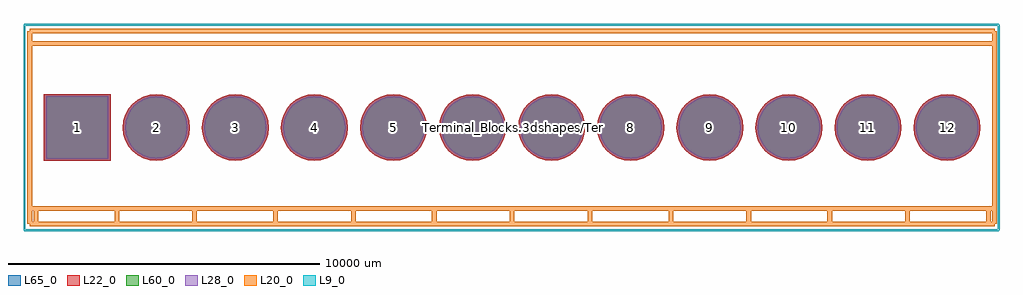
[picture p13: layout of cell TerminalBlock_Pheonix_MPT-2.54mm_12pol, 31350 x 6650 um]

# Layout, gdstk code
import gdstk
lib = gdstk.Library(unit=1e-6, precision=1e-09)
def R(c, l, rs):  # rectangles x0, y0, x1, y1
    for r in rs: c.add(gdstk.rectangle(r[:2], r[2:], *l))
def P(c, l, *ps):  # polygons
    for p in ps: c.add(gdstk.Polygon(p, *l))
L9_0 = (9, 0)
L20_0 = (20, 0)
L22_0 = (22, 0)
L28_0 = (28, 0)
L60_0 = (60, 0)
L65_0 = (65, 0)

terminalblock_pheonix_mp = lib.new_cell('TerminalBlock_Pheonix_MPT-2.54mm_12pol')
R(terminalblock_pheonix_mp, L22_0, [(-1074.49,-1074.49,1074.49,1074.49)])
P(terminalblock_pheonix_mp, L22_0, [(29014.49,0),(28993.844,209.623),(28932.699,411.19),(28833.406,596.955),(28699.779,759.779),(28536.955,893.406),(28351.19,992.699),(28149.623,1053.844),(27940,1074.49),(27730.377,1053.844),(27528.81,992.699),(27343.045,893.406),(27180.221,759.779),(27046.594,596.955),(26947.301,411.19),(26886.156,209.623),(26865.51,0),(26886.156,-209.623),(26947.301,-411.19),(27046.594,-596.955),(27180.221,-759.779),(27343.045,-893.406),(27528.81,-992.699),(27730.377,-1053.844),(27940,-1074.49),(28149.623,-1053.844),(28351.19,-992.699),(28536.955,-893.406),(28699.779,-759.779),(28833.406,-596.955),(28932.699,-411.19),(28993.844,-209.623)],
  [(26474.49,0),(26453.844,209.623),(26392.699,411.19),(26293.406,596.955),(26159.779,759.779),(25996.955,893.406),(25811.19,992.699),(25609.623,1053.844),(25400,1074.49),(25190.377,1053.844),(24988.81,992.699),(24803.045,893.406),(24640.221,759.779),(24506.594,596.955),(24407.301,411.19),(24346.156,209.623),(24325.51,0),(24346.156,-209.623),(24407.301,-411.19),(24506.594,-596.955),(24640.221,-759.779),(24803.045,-893.406),(24988.81,-992.699),(25190.377,-1053.844),(25400,-1074.49),(25609.623,-1053.844),(25811.19,-992.699),(25996.955,-893.406),(26159.779,-759.779),(26293.406,-596.955),(26392.699,-411.19),(26453.844,-209.623)],
  [(23934.49,0),(23913.844,209.623),(23852.699,411.19),(23753.406,596.955),(23619.779,759.779),(23456.955,893.406),(23271.19,992.699),(23069.623,1053.844),(22860,1074.49),(22650.377,1053.844),(22448.81,992.699),(22263.045,893.406),(22100.221,759.779),(21966.594,596.955),(21867.301,411.19),(21806.156,209.623),(21785.51,0),(21806.156,-209.623),(21867.301,-411.19),(21966.594,-596.955),(22100.221,-759.779),(22263.045,-893.406),(22448.81,-992.699),(22650.377,-1053.844),(22860,-1074.49),(23069.623,-1053.844),(23271.19,-992.699),(23456.955,-893.406),(23619.779,-759.779),(23753.406,-596.955),(23852.699,-411.19),(23913.844,-209.623)],
  [(21394.49,0),(21373.844,209.623),(21312.699,411.19),(21213.406,596.955),(21079.779,759.779),(20916.955,893.406),(20731.19,992.699),(20529.623,1053.844),(20320,1074.49),(20110.377,1053.844),(19908.81,992.699),(19723.045,893.406),(19560.221,759.779),(19426.594,596.955),(19327.301,411.19),(19266.156,209.623),(19245.51,0),(19266.156,-209.623),(19327.301,-411.19),(19426.594,-596.955),(19560.221,-759.779),(19723.045,-893.406),(19908.81,-992.699),(20110.377,-1053.844),(20320,-1074.49),(20529.623,-1053.844),(20731.19,-992.699),(20916.955,-893.406),(21079.779,-759.779),(21213.406,-596.955),(21312.699,-411.19),(21373.844,-209.623)],
  [(18854.49,0),(18833.844,209.623),(18772.699,411.19),(18673.406,596.955),(18539.779,759.779),(18376.955,893.406),(18191.19,992.699),(17989.623,1053.844),(17780,1074.49),(17570.377,1053.844),(17368.81,992.699),(17183.045,893.406),(17020.221,759.779),(16886.594,596.955),(16787.301,411.19),(16726.156,209.623),(16705.51,0),(16726.156,-209.623),(16787.301,-411.19),(16886.594,-596.955),(17020.221,-759.779),(17183.045,-893.406),(17368.81,-992.699),(17570.377,-1053.844),(17780,-1074.49),(17989.623,-1053.844),(18191.19,-992.699),(18376.955,-893.406),(18539.779,-759.779),(18673.406,-596.955),(18772.699,-411.19),(18833.844,-209.623)],
  [(16314.49,0),(16293.844,209.623),(16232.699,411.19),(16133.406,596.955),(15999.779,759.779),(15836.955,893.406),(15651.19,992.699),(15449.623,1053.844),(15240,1074.49),(15030.377,1053.844),(14828.81,992.699),(14643.045,893.406),(14480.221,759.779),(14346.594,596.955),(14247.301,411.19),(14186.156,209.623),(14165.51,0),(14186.156,-209.623),(14247.301,-411.19),(14346.594,-596.955),(14480.221,-759.779),(14643.045,-893.406),(14828.81,-992.699),(15030.377,-1053.844),(15240,-1074.49),(15449.623,-1053.844),(15651.19,-992.699),(15836.955,-893.406),(15999.779,-759.779),(16133.406,-596.955),(16232.699,-411.19),(16293.844,-209.623)],
  [(13774.49,0),(13753.844,209.623),(13692.699,411.19),(13593.406,596.955),(13459.779,759.779),(13296.955,893.406),(13111.19,992.699),(12909.623,1053.844),(12700,1074.49),(12490.377,1053.844),(12288.81,992.699),(12103.045,893.406),(11940.221,759.779),(11806.594,596.955),(11707.301,411.19),(11646.156,209.623),(11625.51,0),(11646.156,-209.623),(11707.301,-411.19),(11806.594,-596.955),(11940.221,-759.779),(12103.045,-893.406),(12288.81,-992.699),(12490.377,-1053.844),(12700,-1074.49),(12909.623,-1053.844),(13111.19,-992.699),(13296.955,-893.406),(13459.779,-759.779),(13593.406,-596.955),(13692.699,-411.19),(13753.844,-209.623)],
  [(11234.49,0),(11213.844,209.623),(11152.699,411.19),(11053.406,596.955),(10919.779,759.779),(10756.955,893.406),(10571.19,992.699),(10369.623,1053.844),(10160,1074.49),(9950.377,1053.844),(9748.81,992.699),(9563.045,893.406),(9400.221,759.779),(9266.594,596.955),(9167.301,411.19),(9106.156,209.623),(9085.51,0),(9106.156,-209.623),(9167.301,-411.19),(9266.594,-596.955),(9400.221,-759.779),(9563.045,-893.406),(9748.81,-992.699),(9950.377,-1053.844),(10160,-1074.49),(10369.623,-1053.844),(10571.19,-992.699),(10756.955,-893.406),(10919.779,-759.779),(11053.406,-596.955),(11152.699,-411.19),(11213.844,-209.623)],
  [(6154.49,0),(6133.844,209.623),(6072.699,411.19),(5973.406,596.955),(5839.779,759.779),(5676.955,893.406),(5491.19,992.699),(5289.623,1053.844),(5080,1074.49),(4870.377,1053.844),(4668.81,992.699),(4483.045,893.406),(4320.221,759.779),(4186.594,596.955),(4087.301,411.19),(4026.156,209.623),(4005.51,0),(4026.156,-209.623),(4087.301,-411.19),(4186.594,-596.955),(4320.221,-759.779),(4483.045,-893.406),(4668.81,-992.699),(4870.377,-1053.844),(5080,-1074.49),(5289.623,-1053.844),(5491.19,-992.699),(5676.955,-893.406),(5839.779,-759.779),(5973.406,-596.955),(6072.699,-411.19),(6133.844,-209.623)],
  [(3614.49,0),(3593.844,209.623),(3532.699,411.19),(3433.406,596.955),(3299.779,759.779),(3136.955,893.406),(2951.19,992.699),(2749.623,1053.844),(2540,1074.49),(2330.377,1053.844),(2128.81,992.699),(1943.045,893.406),(1780.221,759.779),(1646.594,596.955),(1547.301,411.19),(1486.156,209.623),(1465.51,0),(1486.156,-209.623),(1547.301,-411.19),(1646.594,-596.955),(1780.221,-759.779),(1943.045,-893.406),(2128.81,-992.699),(2330.377,-1053.844),(2540,-1074.49),(2749.623,-1053.844),(2951.19,-992.699),(3136.955,-893.406),(3299.779,-759.779),(3433.406,-596.955),(3532.699,-411.19),(3593.844,-209.623)],
  [(8694.49,0),(8673.844,209.623),(8612.699,411.19),(8513.406,596.955),(8379.779,759.779),(8216.955,893.406),(8031.19,992.699),(7829.623,1053.844),(7620,1074.49),(7410.377,1053.844),(7208.81,992.699),(7023.045,893.406),(6860.221,759.779),(6726.594,596.955),(6627.301,411.19),(6566.156,209.623),(6545.51,0),(6566.156,-209.623),(6627.301,-411.19),(6726.594,-596.955),(6860.221,-759.779),(7023.045,-893.406),(7208.81,-992.699),(7410.377,-1053.844),(7620,-1074.49),(7829.623,-1053.844),(8031.19,-992.699),(8216.955,-893.406),(8379.779,-759.779),(8513.406,-596.955),(8612.699,-411.19),(8673.844,-209.623)])
R(terminalblock_pheonix_mp, L28_0, [(-999.49,-999.49,999.49,999.49)])
P(terminalblock_pheonix_mp, L28_0, [(28939.49,0),(28920.285,194.991),(28863.408,382.488),(28771.046,555.287),(28646.746,706.746),(28495.287,831.046),(28322.488,923.408),(28134.991,980.285),(27940,999.49),(27745.009,980.285),(27557.512,923.408),(27384.713,831.046),(27233.254,706.746),(27108.954,555.287),(27016.592,382.488),(26959.715,194.991),(26940.51,0),(26959.715,-194.991),(27016.592,-382.488),(27108.954,-555.287),(27233.254,-706.746),(27384.713,-831.046),(27557.512,-923.408),(27745.009,-980.285),(27940,-999.49),(28134.991,-980.285),(28322.488,-923.408),(28495.287,-831.046),(28646.746,-706.746),(28771.046,-555.287),(28863.408,-382.488),(28920.285,-194.991)],
  [(26399.49,0),(26380.285,194.991),(26323.408,382.488),(26231.046,555.287),(26106.746,706.746),(25955.287,831.046),(25782.488,923.408),(25594.991,980.285),(25400,999.49),(25205.009,980.285),(25017.512,923.408),(24844.713,831.046),(24693.254,706.746),(24568.954,555.287),(24476.592,382.488),(24419.715,194.991),(24400.51,0),(24419.715,-194.991),(24476.592,-382.488),(24568.954,-555.287),(24693.254,-706.746),(24844.713,-831.046),(25017.512,-923.408),(25205.009,-980.285),(25400,-999.49),(25594.991,-980.285),(25782.488,-923.408),(25955.287,-831.046),(26106.746,-706.746),(26231.046,-555.287),(26323.408,-382.488),(26380.285,-194.991)],
  [(23859.49,0),(23840.285,194.991),(23783.408,382.488),(23691.046,555.287),(23566.746,706.746),(23415.287,831.046),(23242.488,923.408),(23054.991,980.285),(22860,999.49),(22665.009,980.285),(22477.512,923.408),(22304.713,831.046),(22153.254,706.746),(22028.954,555.287),(21936.592,382.488),(21879.715,194.991),(21860.51,0),(21879.715,-194.991),(21936.592,-382.488),(22028.954,-555.287),(22153.254,-706.746),(22304.713,-831.046),(22477.512,-923.408),(22665.009,-980.285),(22860,-999.49),(23054.991,-980.285),(23242.488,-923.408),(23415.287,-831.046),(23566.746,-706.746),(23691.046,-555.287),(23783.408,-382.488),(23840.285,-194.991)],
  [(21319.49,0),(21300.285,194.991),(21243.408,382.488),(21151.046,555.287),(21026.746,706.746),(20875.287,831.046),(20702.488,923.408),(20514.991,980.285),(20320,999.49),(20125.009,980.285),(19937.512,923.408),(19764.713,831.046),(19613.254,706.746),(19488.954,555.287),(19396.592,382.488),(19339.715,194.991),(19320.51,0),(19339.715,-194.991),(19396.592,-382.488),(19488.954,-555.287),(19613.254,-706.746),(19764.713,-831.046),(19937.512,-923.408),(20125.009,-980.285),(20320,-999.49),(20514.991,-980.285),(20702.488,-923.408),(20875.287,-831.046),(21026.746,-706.746),(21151.046,-555.287),(21243.408,-382.488),(21300.285,-194.991)],
  [(18779.49,0),(18760.285,194.991),(18703.408,382.488),(18611.046,555.287),(18486.746,706.746),(18335.287,831.046),(18162.488,923.408),(17974.991,980.285),(17780,999.49),(17585.009,980.285),(17397.512,923.408),(17224.713,831.046),(17073.254,706.746),(16948.954,555.287),(16856.592,382.488),(16799.715,194.991),(16780.51,0),(16799.715,-194.991),(16856.592,-382.488),(16948.954,-555.287),(17073.254,-706.746),(17224.713,-831.046),(17397.512,-923.408),(17585.009,-980.285),(17780,-999.49),(17974.991,-980.285),(18162.488,-923.408),(18335.287,-831.046),(18486.746,-706.746),(18611.046,-555.287),(18703.408,-382.488),(18760.285,-194.991)],
  [(16239.49,0),(16220.285,194.991),(16163.408,382.488),(16071.046,555.287),(15946.746,706.746),(15795.287,831.046),(15622.488,923.408),(15434.991,980.285),(15240,999.49),(15045.009,980.285),(14857.512,923.408),(14684.713,831.046),(14533.254,706.746),(14408.954,555.287),(14316.592,382.488),(14259.715,194.991),(14240.51,0),(14259.715,-194.991),(14316.592,-382.488),(14408.954,-555.287),(14533.254,-706.746),(14684.713,-831.046),(14857.512,-923.408),(15045.009,-980.285),(15240,-999.49),(15434.991,-980.285),(15622.488,-923.408),(15795.287,-831.046),(15946.746,-706.746),(16071.046,-555.287),(16163.408,-382.488),(16220.285,-194.991)],
  [(13699.49,0),(13680.285,194.991),(13623.408,382.488),(13531.046,555.287),(13406.746,706.746),(13255.287,831.046),(13082.488,923.408),(12894.991,980.285),(12700,999.49),(12505.009,980.285),(12317.512,923.408),(12144.713,831.046),(11993.254,706.746),(11868.954,555.287),(11776.592,382.488),(11719.715,194.991),(11700.51,0),(11719.715,-194.991),(11776.592,-382.488),(11868.954,-555.287),(11993.254,-706.746),(12144.713,-831.046),(12317.512,-923.408),(12505.009,-980.285),(12700,-999.49),(12894.991,-980.285),(13082.488,-923.408),(13255.287,-831.046),(13406.746,-706.746),(13531.046,-555.287),(13623.408,-382.488),(13680.285,-194.991)],
  [(11159.49,0),(11140.285,194.991),(11083.408,382.488),(10991.046,555.287),(10866.746,706.746),(10715.287,831.046),(10542.488,923.408),(10354.991,980.285),(10160,999.49),(9965.009,980.285),(9777.512,923.408),(9604.713,831.046),(9453.254,706.746),(9328.954,555.287),(9236.592,382.488),(9179.715,194.991),(9160.51,0),(9179.715,-194.991),(9236.592,-382.488),(9328.954,-555.287),(9453.254,-706.746),(9604.713,-831.046),(9777.512,-923.408),(9965.009,-980.285),(10160,-999.49),(10354.991,-980.285),(10542.488,-923.408),(10715.287,-831.046),(10866.746,-706.746),(10991.046,-555.287),(11083.408,-382.488),(11140.285,-194.991)],
  [(6079.49,0),(6060.285,194.991),(6003.408,382.488),(5911.046,555.287),(5786.746,706.746),(5635.287,831.046),(5462.488,923.408),(5274.991,980.285),(5080,999.49),(4885.009,980.285),(4697.512,923.408),(4524.713,831.046),(4373.254,706.746),(4248.954,555.287),(4156.592,382.488),(4099.715,194.991),(4080.51,0),(4099.715,-194.991),(4156.592,-382.488),(4248.954,-555.287),(4373.254,-706.746),(4524.713,-831.046),(4697.512,-923.408),(4885.009,-980.285),(5080,-999.49),(5274.991,-980.285),(5462.488,-923.408),(5635.287,-831.046),(5786.746,-706.746),(5911.046,-555.287),(6003.408,-382.488),(6060.285,-194.991)],
  [(3539.49,0),(3520.285,194.991),(3463.408,382.488),(3371.046,555.287),(3246.746,706.746),(3095.287,831.046),(2922.488,923.408),(2734.991,980.285),(2540,999.49),(2345.009,980.285),(2157.512,923.408),(1984.713,831.046),(1833.254,706.746),(1708.954,555.287),(1616.592,382.488),(1559.715,194.991),(1540.51,0),(1559.715,-194.991),(1616.592,-382.488),(1708.954,-555.287),(1833.254,-706.746),(1984.713,-831.046),(2157.512,-923.408),(2345.009,-980.285),(2540,-999.49),(2734.991,-980.285),(2922.488,-923.408),(3095.287,-831.046),(3246.746,-706.746),(3371.046,-555.287),(3463.408,-382.488),(3520.285,-194.991)],
  [(8619.49,0),(8600.285,194.991),(8543.408,382.488),(8451.046,555.287),(8326.746,706.746),(8175.287,831.046),(8002.488,923.408),(7814.991,980.285),(7620,999.49),(7425.009,980.285),(7237.512,923.408),(7064.713,831.046),(6913.254,706.746),(6788.954,555.287),(6696.592,382.488),(6639.715,194.991),(6620.51,0),(6639.715,-194.991),(6696.592,-382.488),(6788.954,-555.287),(6913.254,-706.746),(7064.713,-831.046),(7237.512,-923.408),(7425.009,-980.285),(7620,-999.49),(7814.991,-980.285),(8002.488,-923.408),(8175.287,-831.046),(8326.746,-706.746),(8451.046,-555.287),(8543.408,-382.488),(8600.285,-194.991)])
R(terminalblock_pheonix_mp, L60_0, [(-999.49,-999.49,999.49,999.49)])
P(terminalblock_pheonix_mp, L60_0, [(28939.49,0),(28920.285,194.991),(28863.408,382.488),(28771.046,555.287),(28646.746,706.746),(28495.287,831.046),(28322.488,923.408),(28134.991,980.285),(27940,999.49),(27745.009,980.285),(27557.512,923.408),(27384.713,831.046),(27233.254,706.746),(27108.954,555.287),(27016.592,382.488),(26959.715,194.991),(26940.51,0),(26959.715,-194.991),(27016.592,-382.488),(27108.954,-555.287),(27233.254,-706.746),(27384.713,-831.046),(27557.512,-923.408),(27745.009,-980.285),(27940,-999.49),(28134.991,-980.285),(28322.488,-923.408),(28495.287,-831.046),(28646.746,-706.746),(28771.046,-555.287),(28863.408,-382.488),(28920.285,-194.991)],
  [(26399.49,0),(26380.285,194.991),(26323.408,382.488),(26231.046,555.287),(26106.746,706.746),(25955.287,831.046),(25782.488,923.408),(25594.991,980.285),(25400,999.49),(25205.009,980.285),(25017.512,923.408),(24844.713,831.046),(24693.254,706.746),(24568.954,555.287),(24476.592,382.488),(24419.715,194.991),(24400.51,0),(24419.715,-194.991),(24476.592,-382.488),(24568.954,-555.287),(24693.254,-706.746),(24844.713,-831.046),(25017.512,-923.408),(25205.009,-980.285),(25400,-999.49),(25594.991,-980.285),(25782.488,-923.408),(25955.287,-831.046),(26106.746,-706.746),(26231.046,-555.287),(26323.408,-382.488),(26380.285,-194.991)],
  [(23859.49,0),(23840.285,194.991),(23783.408,382.488),(23691.046,555.287),(23566.746,706.746),(23415.287,831.046),(23242.488,923.408),(23054.991,980.285),(22860,999.49),(22665.009,980.285),(22477.512,923.408),(22304.713,831.046),(22153.254,706.746),(22028.954,555.287),(21936.592,382.488),(21879.715,194.991),(21860.51,0),(21879.715,-194.991),(21936.592,-382.488),(22028.954,-555.287),(22153.254,-706.746),(22304.713,-831.046),(22477.512,-923.408),(22665.009,-980.285),(22860,-999.49),(23054.991,-980.285),(23242.488,-923.408),(23415.287,-831.046),(23566.746,-706.746),(23691.046,-555.287),(23783.408,-382.488),(23840.285,-194.991)],
  [(21319.49,0),(21300.285,194.991),(21243.408,382.488),(21151.046,555.287),(21026.746,706.746),(20875.287,831.046),(20702.488,923.408),(20514.991,980.285),(20320,999.49),(20125.009,980.285),(19937.512,923.408),(19764.713,831.046),(19613.254,706.746),(19488.954,555.287),(19396.592,382.488),(19339.715,194.991),(19320.51,0),(19339.715,-194.991),(19396.592,-382.488),(19488.954,-555.287),(19613.254,-706.746),(19764.713,-831.046),(19937.512,-923.408),(20125.009,-980.285),(20320,-999.49),(20514.991,-980.285),(20702.488,-923.408),(20875.287,-831.046),(21026.746,-706.746),(21151.046,-555.287),(21243.408,-382.488),(21300.285,-194.991)],
  [(18779.49,0),(18760.285,194.991),(18703.408,382.488),(18611.046,555.287),(18486.746,706.746),(18335.287,831.046),(18162.488,923.408),(17974.991,980.285),(17780,999.49),(17585.009,980.285),(17397.512,923.408),(17224.713,831.046),(17073.254,706.746),(16948.954,555.287),(16856.592,382.488),(16799.715,194.991),(16780.51,0),(16799.715,-194.991),(16856.592,-382.488),(16948.954,-555.287),(17073.254,-706.746),(17224.713,-831.046),(17397.512,-923.408),(17585.009,-980.285),(17780,-999.49),(17974.991,-980.285),(18162.488,-923.408),(18335.287,-831.046),(18486.746,-706.746),(18611.046,-555.287),(18703.408,-382.488),(18760.285,-194.991)],
  [(16239.49,0),(16220.285,194.991),(16163.408,382.488),(16071.046,555.287),(15946.746,706.746),(15795.287,831.046),(15622.488,923.408),(15434.991,980.285),(15240,999.49),(15045.009,980.285),(14857.512,923.408),(14684.713,831.046),(14533.254,706.746),(14408.954,555.287),(14316.592,382.488),(14259.715,194.991),(14240.51,0),(14259.715,-194.991),(14316.592,-382.488),(14408.954,-555.287),(14533.254,-706.746),(14684.713,-831.046),(14857.512,-923.408),(15045.009,-980.285),(15240,-999.49),(15434.991,-980.285),(15622.488,-923.408),(15795.287,-831.046),(15946.746,-706.746),(16071.046,-555.287),(16163.408,-382.488),(16220.285,-194.991)],
  [(13699.49,0),(13680.285,194.991),(13623.408,382.488),(13531.046,555.287),(13406.746,706.746),(13255.287,831.046),(13082.488,923.408),(12894.991,980.285),(12700,999.49),(12505.009,980.285),(12317.512,923.408),(12144.713,831.046),(11993.254,706.746),(11868.954,555.287),(11776.592,382.488),(11719.715,194.991),(11700.51,0),(11719.715,-194.991),(11776.592,-382.488),(11868.954,-555.287),(11993.254,-706.746),(12144.713,-831.046),(12317.512,-923.408),(12505.009,-980.285),(12700,-999.49),(12894.991,-980.285),(13082.488,-923.408),(13255.287,-831.046),(13406.746,-706.746),(13531.046,-555.287),(13623.408,-382.488),(13680.285,-194.991)],
  [(11159.49,0),(11140.285,194.991),(11083.408,382.488),(10991.046,555.287),(10866.746,706.746),(10715.287,831.046),(10542.488,923.408),(10354.991,980.285),(10160,999.49),(9965.009,980.285),(9777.512,923.408),(9604.713,831.046),(9453.254,706.746),(9328.954,555.287),(9236.592,382.488),(9179.715,194.991),(9160.51,0),(9179.715,-194.991),(9236.592,-382.488),(9328.954,-555.287),(9453.254,-706.746),(9604.713,-831.046),(9777.512,-923.408),(9965.009,-980.285),(10160,-999.49),(10354.991,-980.285),(10542.488,-923.408),(10715.287,-831.046),(10866.746,-706.746),(10991.046,-555.287),(11083.408,-382.488),(11140.285,-194.991)],
  [(6079.49,0),(6060.285,194.991),(6003.408,382.488),(5911.046,555.287),(5786.746,706.746),(5635.287,831.046),(5462.488,923.408),(5274.991,980.285),(5080,999.49),(4885.009,980.285),(4697.512,923.408),(4524.713,831.046),(4373.254,706.746),(4248.954,555.287),(4156.592,382.488),(4099.715,194.991),(4080.51,0),(4099.715,-194.991),(4156.592,-382.488),(4248.954,-555.287),(4373.254,-706.746),(4524.713,-831.046),(4697.512,-923.408),(4885.009,-980.285),(5080,-999.49),(5274.991,-980.285),(5462.488,-923.408),(5635.287,-831.046),(5786.746,-706.746),(5911.046,-555.287),(6003.408,-382.488),(6060.285,-194.991)],
  [(3539.49,0),(3520.285,194.991),(3463.408,382.488),(3371.046,555.287),(3246.746,706.746),(3095.287,831.046),(2922.488,923.408),(2734.991,980.285),(2540,999.49),(2345.009,980.285),(2157.512,923.408),(1984.713,831.046),(1833.254,706.746),(1708.954,555.287),(1616.592,382.488),(1559.715,194.991),(1540.51,0),(1559.715,-194.991),(1616.592,-382.488),(1708.954,-555.287),(1833.254,-706.746),(1984.713,-831.046),(2157.512,-923.408),(2345.009,-980.285),(2540,-999.49),(2734.991,-980.285),(2922.488,-923.408),(3095.287,-831.046),(3246.746,-706.746),(3371.046,-555.287),(3463.408,-382.488),(3520.285,-194.991)],
  [(8619.49,0),(8600.285,194.991),(8543.408,382.488),(8451.046,555.287),(8326.746,706.746),(8175.287,831.046),(8002.488,923.408),(7814.991,980.285),(7620,999.49),(7425.009,980.285),(7237.512,923.408),(7064.713,831.046),(6913.254,706.746),(6788.954,555.287),(6696.592,382.488),(6639.715,194.991),(6620.51,0),(6639.715,-194.991),(6696.592,-382.488),(6788.954,-555.287),(6913.254,-706.746),(7064.713,-831.046),(7237.512,-923.408),(7425.009,-980.285),(7620,-999.49),(7814.991,-980.285),(8002.488,-923.408),(8175.287,-831.046),(8326.746,-706.746),(8451.046,-555.287),(8543.408,-382.488),(8600.285,-194.991)])
R(terminalblock_pheonix_mp, L65_0, [(-1074.49,-1074.49,1074.49,1074.49)])
P(terminalblock_pheonix_mp, L65_0, [(29014.49,0),(28993.844,209.623),(28932.699,411.19),(28833.406,596.955),(28699.779,759.779),(28536.955,893.406),(28351.19,992.699),(28149.623,1053.844),(27940,1074.49),(27730.377,1053.844),(27528.81,992.699),(27343.045,893.406),(27180.221,759.779),(27046.594,596.955),(26947.301,411.19),(26886.156,209.623),(26865.51,0),(26886.156,-209.623),(26947.301,-411.19),(27046.594,-596.955),(27180.221,-759.779),(27343.045,-893.406),(27528.81,-992.699),(27730.377,-1053.844),(27940,-1074.49),(28149.623,-1053.844),(28351.19,-992.699),(28536.955,-893.406),(28699.779,-759.779),(28833.406,-596.955),(28932.699,-411.19),(28993.844,-209.623)],
  [(26474.49,0),(26453.844,209.623),(26392.699,411.19),(26293.406,596.955),(26159.779,759.779),(25996.955,893.406),(25811.19,992.699),(25609.623,1053.844),(25400,1074.49),(25190.377,1053.844),(24988.81,992.699),(24803.045,893.406),(24640.221,759.779),(24506.594,596.955),(24407.301,411.19),(24346.156,209.623),(24325.51,0),(24346.156,-209.623),(24407.301,-411.19),(24506.594,-596.955),(24640.221,-759.779),(24803.045,-893.406),(24988.81,-992.699),(25190.377,-1053.844),(25400,-1074.49),(25609.623,-1053.844),(25811.19,-992.699),(25996.955,-893.406),(26159.779,-759.779),(26293.406,-596.955),(26392.699,-411.19),(26453.844,-209.623)],
  [(23934.49,0),(23913.844,209.623),(23852.699,411.19),(23753.406,596.955),(23619.779,759.779),(23456.955,893.406),(23271.19,992.699),(23069.623,1053.844),(22860,1074.49),(22650.377,1053.844),(22448.81,992.699),(22263.045,893.406),(22100.221,759.779),(21966.594,596.955),(21867.301,411.19),(21806.156,209.623),(21785.51,0),(21806.156,-209.623),(21867.301,-411.19),(21966.594,-596.955),(22100.221,-759.779),(22263.045,-893.406),(22448.81,-992.699),(22650.377,-1053.844),(22860,-1074.49),(23069.623,-1053.844),(23271.19,-992.699),(23456.955,-893.406),(23619.779,-759.779),(23753.406,-596.955),(23852.699,-411.19),(23913.844,-209.623)],
  [(21394.49,0),(21373.844,209.623),(21312.699,411.19),(21213.406,596.955),(21079.779,759.779),(20916.955,893.406),(20731.19,992.699),(20529.623,1053.844),(20320,1074.49),(20110.377,1053.844),(19908.81,992.699),(19723.045,893.406),(19560.221,759.779),(19426.594,596.955),(19327.301,411.19),(19266.156,209.623),(19245.51,0),(19266.156,-209.623),(19327.301,-411.19),(19426.594,-596.955),(19560.221,-759.779),(19723.045,-893.406),(19908.81,-992.699),(20110.377,-1053.844),(20320,-1074.49),(20529.623,-1053.844),(20731.19,-992.699),(20916.955,-893.406),(21079.779,-759.779),(21213.406,-596.955),(21312.699,-411.19),(21373.844,-209.623)],
  [(18854.49,0),(18833.844,209.623),(18772.699,411.19),(18673.406,596.955),(18539.779,759.779),(18376.955,893.406),(18191.19,992.699),(17989.623,1053.844),(17780,1074.49),(17570.377,1053.844),(17368.81,992.699),(17183.045,893.406),(17020.221,759.779),(16886.594,596.955),(16787.301,411.19),(16726.156,209.623),(16705.51,0),(16726.156,-209.623),(16787.301,-411.19),(16886.594,-596.955),(17020.221,-759.779),(17183.045,-893.406),(17368.81,-992.699),(17570.377,-1053.844),(17780,-1074.49),(17989.623,-1053.844),(18191.19,-992.699),(18376.955,-893.406),(18539.779,-759.779),(18673.406,-596.955),(18772.699,-411.19),(18833.844,-209.623)],
  [(16314.49,0),(16293.844,209.623),(16232.699,411.19),(16133.406,596.955),(15999.779,759.779),(15836.955,893.406),(15651.19,992.699),(15449.623,1053.844),(15240,1074.49),(15030.377,1053.844),(14828.81,992.699),(14643.045,893.406),(14480.221,759.779),(14346.594,596.955),(14247.301,411.19),(14186.156,209.623),(14165.51,0),(14186.156,-209.623),(14247.301,-411.19),(14346.594,-596.955),(14480.221,-759.779),(14643.045,-893.406),(14828.81,-992.699),(15030.377,-1053.844),(15240,-1074.49),(15449.623,-1053.844),(15651.19,-992.699),(15836.955,-893.406),(15999.779,-759.779),(16133.406,-596.955),(16232.699,-411.19),(16293.844,-209.623)],
  [(13774.49,0),(13753.844,209.623),(13692.699,411.19),(13593.406,596.955),(13459.779,759.779),(13296.955,893.406),(13111.19,992.699),(12909.623,1053.844),(12700,1074.49),(12490.377,1053.844),(12288.81,992.699),(12103.045,893.406),(11940.221,759.779),(11806.594,596.955),(11707.301,411.19),(11646.156,209.623),(11625.51,0),(11646.156,-209.623),(11707.301,-411.19),(11806.594,-596.955),(11940.221,-759.779),(12103.045,-893.406),(12288.81,-992.699),(12490.377,-1053.844),(12700,-1074.49),(12909.623,-1053.844),(13111.19,-992.699),(13296.955,-893.406),(13459.779,-759.779),(13593.406,-596.955),(13692.699,-411.19),(13753.844,-209.623)],
  [(11234.49,0),(11213.844,209.623),(11152.699,411.19),(11053.406,596.955),(10919.779,759.779),(10756.955,893.406),(10571.19,992.699),(10369.623,1053.844),(10160,1074.49),(9950.377,1053.844),(9748.81,992.699),(9563.045,893.406),(9400.221,759.779),(9266.594,596.955),(9167.301,411.19),(9106.156,209.623),(9085.51,0),(9106.156,-209.623),(9167.301,-411.19),(9266.594,-596.955),(9400.221,-759.779),(9563.045,-893.406),(9748.81,-992.699),(9950.377,-1053.844),(10160,-1074.49),(10369.623,-1053.844),(10571.19,-992.699),(10756.955,-893.406),(10919.779,-759.779),(11053.406,-596.955),(11152.699,-411.19),(11213.844,-209.623)],
  [(6154.49,0),(6133.844,209.623),(6072.699,411.19),(5973.406,596.955),(5839.779,759.779),(5676.955,893.406),(5491.19,992.699),(5289.623,1053.844),(5080,1074.49),(4870.377,1053.844),(4668.81,992.699),(4483.045,893.406),(4320.221,759.779),(4186.594,596.955),(4087.301,411.19),(4026.156,209.623),(4005.51,0),(4026.156,-209.623),(4087.301,-411.19),(4186.594,-596.955),(4320.221,-759.779),(4483.045,-893.406),(4668.81,-992.699),(4870.377,-1053.844),(5080,-1074.49),(5289.623,-1053.844),(5491.19,-992.699),(5676.955,-893.406),(5839.779,-759.779),(5973.406,-596.955),(6072.699,-411.19),(6133.844,-209.623)],
  [(3614.49,0),(3593.844,209.623),(3532.699,411.19),(3433.406,596.955),(3299.779,759.779),(3136.955,893.406),(2951.19,992.699),(2749.623,1053.844),(2540,1074.49),(2330.377,1053.844),(2128.81,992.699),(1943.045,893.406),(1780.221,759.779),(1646.594,596.955),(1547.301,411.19),(1486.156,209.623),(1465.51,0),(1486.156,-209.623),(1547.301,-411.19),(1646.594,-596.955),(1780.221,-759.779),(1943.045,-893.406),(2128.81,-992.699),(2330.377,-1053.844),(2540,-1074.49),(2749.623,-1053.844),(2951.19,-992.699),(3136.955,-893.406),(3299.779,-759.779),(3433.406,-596.955),(3532.699,-411.19),(3593.844,-209.623)],
  [(8694.49,0),(8673.844,209.623),(8612.699,411.19),(8513.406,596.955),(8379.779,759.779),(8216.955,893.406),(8031.19,992.699),(7829.623,1053.844),(7620,1074.49),(7410.377,1053.844),(7208.81,992.699),(7023.045,893.406),(6860.221,759.779),(6726.594,596.955),(6627.301,411.19),(6566.156,209.623),(6545.51,0),(6566.156,-209.623),(6627.301,-411.19),(6726.594,-596.955),(6860.221,-759.779),(7023.045,-893.406),(7208.81,-992.699),(7410.377,-1053.844),(7620,-1074.49),(7829.623,-1053.844),(8031.19,-992.699),(8216.955,-893.406),(8379.779,-759.779),(8513.406,-596.955),(8612.699,-411.19),(8673.844,-209.623)])
terminalblock_pheonix_mp.add(gdstk.FlexPath([(-1526.54,3098.8),(-1526.54,-3098.8)], 149.998, ends="flush", simple_path=True, layer=20, datatype=0))  # L20_0
terminalblock_pheonix_mp.add(gdstk.FlexPath([(29466.54,-3098.8),(29466.54,3098.8)], 149.998, ends="flush", simple_path=True, layer=20, datatype=0))  # L20_0
terminalblock_pheonix_mp.add(gdstk.FlexPath([(1275.08,-3098.8),(1275.08,-2600.96)], 149.998, ends="flush", simple_path=True, layer=20, datatype=0))  # L20_0
terminalblock_pheonix_mp.add(gdstk.FlexPath([(29268.42,-2600.96),(29268.42,-3098.8)], 149.998, ends="flush", simple_path=True, layer=20, datatype=0))  # L20_0
terminalblock_pheonix_mp.add(gdstk.FlexPath([(-1328.42,-3098.8),(-1328.42,-2600.96)], 149.998, ends="flush", simple_path=True, layer=20, datatype=0))  # L20_0
terminalblock_pheonix_mp.add(gdstk.FlexPath([(3771.9,-2600.96),(3771.9,-3098.8)], 149.998, ends="flush", simple_path=True, layer=20, datatype=0))  # L20_0
terminalblock_pheonix_mp.add(gdstk.FlexPath([(6370.32,-2600.96),(6370.32,-3098.8)], 149.998, ends="flush", simple_path=True, layer=20, datatype=0))  # L20_0
terminalblock_pheonix_mp.add(gdstk.FlexPath([(21572.22,-2600.96),(21572.22,-3098.8)], 149.998, ends="flush", simple_path=True, layer=20, datatype=0))  # L20_0
terminalblock_pheonix_mp.add(gdstk.FlexPath([(24170.64,-2600.96),(24170.64,-3098.8)], 149.998, ends="flush", simple_path=True, layer=20, datatype=0))  # L20_0
terminalblock_pheonix_mp.add(gdstk.FlexPath([(26670,-2600.96),(26670,-3098.8)], 149.998, ends="flush", simple_path=True, layer=20, datatype=0))  # L20_0
terminalblock_pheonix_mp.add(gdstk.FlexPath([(19070.32,-2600.96),(19070.32,-3098.8)], 149.998, ends="flush", simple_path=True, layer=20, datatype=0))  # L20_0
terminalblock_pheonix_mp.add(gdstk.FlexPath([(8869.68,-2600.96),(8869.68,-3098.8)], 149.998, ends="flush", simple_path=True, layer=20, datatype=0))  # L20_0
terminalblock_pheonix_mp.add(gdstk.FlexPath([(16469.36,-2600.96),(16469.36,-3098.8)], 149.998, ends="flush", simple_path=True, layer=20, datatype=0))  # L20_0
terminalblock_pheonix_mp.add(gdstk.FlexPath([(11470.64,-2600.96),(11470.64,-3098.8)], 149.998, ends="flush", simple_path=True, layer=20, datatype=0))  # L20_0
terminalblock_pheonix_mp.add(gdstk.FlexPath([(-1529.08,3098.8),(29469.08,3098.8)], 149.998, ends="flush", simple_path=True, layer=20, datatype=0))  # L20_0
terminalblock_pheonix_mp.add(gdstk.FlexPath([(29469.08,2700.02),(-1529.08,2700.02)], 149.998, ends="flush", simple_path=True, layer=20, datatype=0))  # L20_0
terminalblock_pheonix_mp.add(gdstk.FlexPath([(-1529.08,-2600.96),(29469.08,-2600.96)], 149.998, ends="flush", simple_path=True, layer=20, datatype=0))  # L20_0
terminalblock_pheonix_mp.add(gdstk.FlexPath([(29469.08,-3098.8),(-1529.08,-3098.8)], 149.998, ends="flush", simple_path=True, layer=20, datatype=0))  # L20_0
terminalblock_pheonix_mp.add(gdstk.FlexPath([(13970,-2600.96),(13970,-3098.8)], 149.998, ends="flush", simple_path=True, layer=20, datatype=0))  # L20_0
terminalblock_pheonix_mp.add(gdstk.FlexPath([(29600,3300),(29600,-3200)], 50, ends="flush", simple_path=True, layer=9, datatype=0))  # L9_0
terminalblock_pheonix_mp.add(gdstk.FlexPath([(29600,-3200),(29600,-3300)], 50, ends="flush", simple_path=True, layer=9, datatype=0))  # L9_0
terminalblock_pheonix_mp.add(gdstk.FlexPath([(29600,-3300),(-1700,-3300)], 50, ends="flush", simple_path=True, layer=9, datatype=0))  # L9_0
terminalblock_pheonix_mp.add(gdstk.FlexPath([(-1700,-3300),(-1700,3300)], 50, ends="flush", simple_path=True, layer=9, datatype=0))  # L9_0
terminalblock_pheonix_mp.add(gdstk.FlexPath([(-1700,3300),(29600,3300)], 50, ends="flush", simple_path=True, layer=9, datatype=0))  # L9_0
terminalblock_pheonix_mp.add(gdstk.Label('Terminal_Blocks.3dshapes/TerminalBlock_Pheonix_MPT-2.54mm_12pol.wrl', (13970,0), layer=12, texttype=0))
terminalblock_pheonix_mp.add(gdstk.Label('12', (27940,0), layer=28, texttype=0))
terminalblock_pheonix_mp.add(gdstk.Label('11', (25400,0), layer=28, texttype=0))
terminalblock_pheonix_mp.add(gdstk.Label('10', (22860,0), layer=28, texttype=0))
terminalblock_pheonix_mp.add(gdstk.Label('9', (20320,0), layer=28, texttype=0))
terminalblock_pheonix_mp.add(gdstk.Label('8', (17780,0), layer=28, texttype=0))
terminalblock_pheonix_mp.add(gdstk.Label('7', (15240,0), layer=28, texttype=0))
terminalblock_pheonix_mp.add(gdstk.Label('6', (12700,0), layer=28, texttype=0))
terminalblock_pheonix_mp.add(gdstk.Label('5', (10160,0), layer=28, texttype=0))
terminalblock_pheonix_mp.add(gdstk.Label('3', (5080,0), layer=28, texttype=0))
terminalblock_pheonix_mp.add(gdstk.Label('2', (2540,0), layer=28, texttype=0))
terminalblock_pheonix_mp.add(gdstk.Label('1', (0,0), layer=28, texttype=0))
terminalblock_pheonix_mp.add(gdstk.Label('4', (7620,0), layer=28, texttype=0))
terminalblock_pheonix_mp.add(gdstk.Label('type', (13970,-4500.88), layer=9, texttype=0))
terminalblock_pheonix_mp.add(gdstk.Label('devicename', (13970,4500.88), layer=9, texttype=0))

lib.write_gds('TerminalBlock_Pheonix_MPT-2.54mm_12pol.gds')
